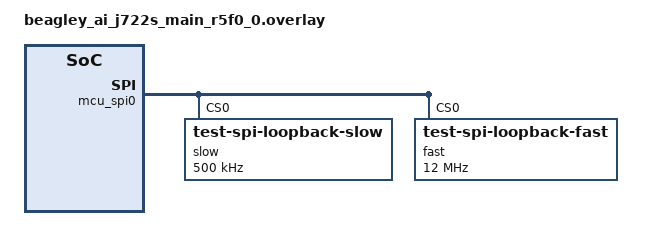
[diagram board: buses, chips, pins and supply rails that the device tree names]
/* Copyright (C) 2026 BeagleBoard.org Foundation
 * Copyright (C) 2026 Dhruv Menon <dhruvmenon1104@gmail.com>
 *
 * SPDX-License-Identifier: Apache-2.0
 *
 * Wire HAT SPI0 MOSI (pin 19) to MISO (pin 21) for an external loopback, or
 * use CONFIG_SPI_LOOPBACK_MODE_LOOP for controller internal loopback.
 */

#include <freq.h>

&mcu_spi0 {
	pinctrl-0 = <&hat_24_spi &hat_23_spi &hat_19_spi &hat_21_spi>;
	pinctrl-names = "default";
	status = "okay";

	slow@0 {
		compatible = "test-spi-loopback-slow";
		reg = <0>;
		spi-max-frequency = <DT_FREQ_K(500)>;
	};

	fast@0 {
		compatible = "test-spi-loopback-fast";
		reg = <0>;
		spi-max-frequency = <DT_FREQ_M(12)>;
	};
};
